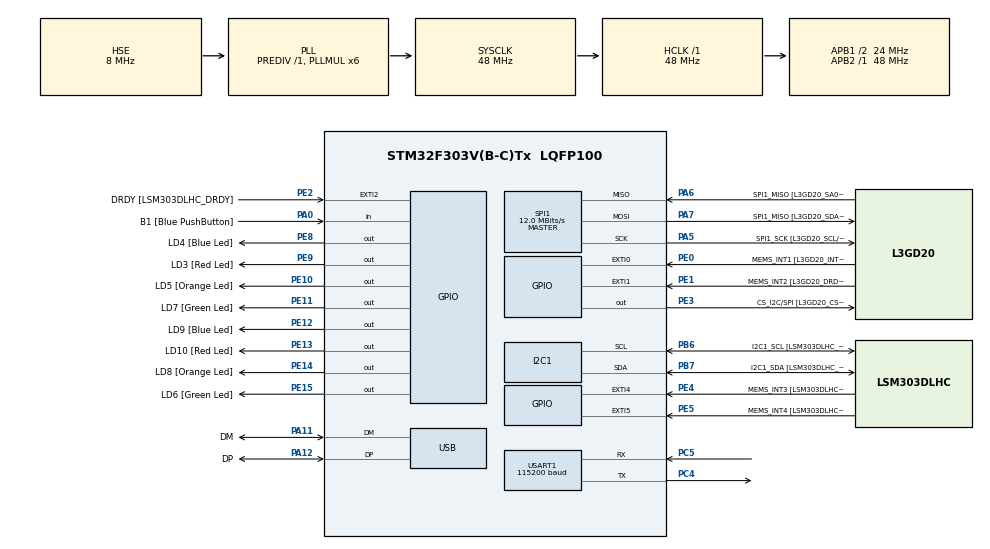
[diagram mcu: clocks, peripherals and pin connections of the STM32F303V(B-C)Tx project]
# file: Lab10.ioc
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I2C1.Timing=0x00201D2B
I2C1.Timing-I2C=0x2000090E
Mcu.Family=STM32F3
Mcu.Name=STM32F303V(B-C)Tx
Mcu.Package=LQFP100
NVIC.PriorityGroup=NVIC_PRIORITYGROUP_0
NVIC.USB_LP_CAN_RX0_IRQn=true\:0\:0\:false\:false\:true\:false\:true\:true
PA0.GPIO_Label=B1 [Blue PushButton]
PA0.Signal=GPIO_Input
PA11.GPIO_Label=DM
PA11.Mode=Device
PA11.Signal=USB_DM
PA12.GPIO_Label=DP
PA12.Mode=Device
PA12.Signal=USB_DP
PA13.GPIO_Label=SWDIO
PA13.Mode=Serial_Wire
PA13.Signal=SYS_JTMS-SWDIO
PA14.GPIO_Label=SWCLK
PA14.Mode=Serial_Wire
PA14.Signal=SYS_JTCK-SWCLK
PA5.GPIO_Label=SPI1_SCK [L3GD20_SCL/SPC]
PA5.Mode=Full_Duplex_Master
PA5.Signal=SPI1_SCK
PA6.GPIO_Label=SPI1_MISO [L3GD20_SA0/SDO]
PA6.Mode=Full_Duplex_Master
PA6.Signal=SPI1_MISO
PA7.GPIO_Label=SPI1_MISO [L3GD20_SDA/SDI/SDO]
PA7.Mode=Full_Duplex_Master
PA7.Signal=SPI1_MOSI
PB3.GPIO_Label=SWO
PB3.Signal=SYS_JTDO-TRACESWO
PB6.GPIO_Label=I2C1_SCL [LSM303DLHC_SCL]
PB6.GPIO_Pu=GPIO_PULLUP
PB6.Mode=I2C
PB6.Signal=I2C1_SCL
PB7.GPIO_Label=I2C1_SDA [LSM303DLHC_SDA]
PB7.GPIO_Pu=GPIO_PULLUP
PB7.Mode=I2C
PB7.Signal=I2C1_SDA
PC14-OSC32_IN.GPIO_Label=OSC32_IN
PC14-OSC32_IN.Signal=RCC_OSC32_IN
PC15-OSC32_OUT.GPIO_Label=OSC32_OUT
PC15-OSC32_OUT.Signal=RCC_OSC32_OUT
PC4.Mode=Asynchronous
PC4.Signal=USART1_TX
PC5.Mode=Asynchronous
PC5.Signal=USART1_RX
PE0.GPIO_Label=MEMS_INT1 [L3GD20_INT1]
PE0.GPIO_ModeDefaultEXTI=GPIO_MODE_EVT_RISING
PE0.Signal=GPXTI0
PE1.GPIO_Label=MEMS_INT2 [L3GD20_DRDY/INT2]
PE1.GPIO_ModeDefaultEXTI=GPIO_MODE_EVT_RISING
PE1.Signal=GPXTI1
PE10.GPIO_Label=LD5 [Orange Led]
PE10.Signal=GPIO_Output
PE11.GPIO_Label=LD7 [Green Led]
PE11.Signal=GPIO_Output
PE12.GPIO_Label=LD9 [Blue Led]
PE12.Signal=GPIO_Output
PE13.GPIO_Label=LD10 [Red Led]
PE13.Signal=GPIO_Output
PE14.GPIO_Label=LD8 [Orange Led]
PE14.Signal=GPIO_Output
PE15.GPIO_Label=LD6 [Green Led]
PE15.Signal=GPIO_Output
PE2.GPIO_Label=DRDY [LSM303DLHC_DRDY]
PE2.GPIO_ModeDefaultEXTI=GPIO_MODE_EVT_RISING
PE2.Signal=GPXTI2
PE3.GPIO_Label=CS_I2C/SPI [L3GD20_CS_I2C/SPI]
PE3.Signal=GPIO_Output
PE4.GPIO_Label=MEMS_INT3 [LSM303DLHC_INT1]
PE4.GPIO_ModeDefaultEXTI=GPIO_MODE_EVT_RISING
PE4.Signal=GPXTI4
PE5.GPIO_Label=MEMS_INT4 [LSM303DLHC_INT2]
PE5.GPIO_ModeDefaultEXTI=GPIO_MODE_EVT_RISING
PE5.Signal=GPXTI5
PE8.GPIO_Label=LD4 [Blue Led]
PE8.Signal=GPIO_Output
PE9.GPIO_Label=LD3 [Red Led]
PE9.Signal=GPIO_Output
PF0-OSC_IN.GPIO_Label=OSC_IN
PF0-OSC_IN.Mode=HSE-External-Clock-Source
PF0-OSC_IN.Signal=RCC_OSC_IN
PF1-OSC_OUT.GPIO_Label=OSC_OUT
PF1-OSC_OUT.Signal=RCC_OSC_OUT
ProjectManager.HeapSize=0x200
ProjectManager.StackSize=0x400
ProjectManager.TargetToolchain=CMake
RCC.AHBFreq_Value=48000000
RCC.APB1CLKDivider=RCC_HCLK_DIV2
RCC.APB1Freq_Value=24000000
RCC.APB1TimFreq_Value=48000000
RCC.APB2Freq_Value=48000000
RCC.APB2TimFreq_Value=48000000
RCC.CortexFreq_Value=48000000
RCC.HCLKFreq_Value=48000000
RCC.HSE_VALUE=8000000
RCC.HSI_VALUE=8000000
RCC.LSE_VALUE=32768
RCC.PLLMUL=RCC_PLL_MUL6
RCC.SYSCLKFreq_VALUE=48000000
RCC.SYSCLKSourceVirtual=RCC_SYSCLKSOURCE_PLLCLK
RCC.USBFreq_Value=48000000
SPI1.BaudRatePrescaler=SPI_BAUDRATEPRESCALER_4
SPI1.BaudRatePrescaler-Full_Duplex_Master=SPI_BAUDRATEPRESCALER_2
SPI1.CalculateBaudRate=12.0 MBits/s
SPI1.CalculateBaudRate-Full_Duplex_Master=24.0 MBits/s
SPI1.Direction=SPI_DIRECTION_2LINES
SPI1.Mode=SPI_MODE_MASTER
SPI1.Mode-Full_Duplex_Master=SPI_MODE_MASTER
SPI1.VirtualType=VM_MASTER
USART1.BaudRate=115200
USART1.VirtualMode-Asynchronous=VM_ASYNC
USB_DEVICE.CLASS_NAME_FS=CDC
USB_DEVICE.VirtualMode=Cdc
USB_DEVICE.VirtualModeFS=Cdc_FS
VP_USB_DEVICE_VS_USB_DEVICE_CDC_FS.Mode=CDC_FS
board=STM32F3DISCOVERY

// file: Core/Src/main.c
/* USER CODE BEGIN Header */
/**
  ******************************************************************************
  * @file           : main.c
  * @brief          : Main program body
  ******************************************************************************
  * @attention
  *
  * Copyright (c) 2026 STMicroelectronics.
  * All rights reserved.
  *
  * This software is licensed under terms that can be found in the LICENSE file
  * in the root directory of this software component.
  * If no LICENSE file comes with this software, it is provided AS-IS.
  *
  ******************************************************************************
  */
/* USER CODE END Header */
#include "main.h"
#include "usb_device.h"
#include <stdlib.h>
#include <string.h>
#include <stdio.h>

I2C_HandleTypeDef hi2c1;

SPI_HandleTypeDef hspi1;

UART_HandleTypeDef huart1;

void SystemClock_Config(void);
static void MX_GPIO_Init(void);
static void MX_I2C1_Init(void);
static void MX_SPI1_Init(void);
static void MX_USART1_UART_Init(void);

int main(void)
{

  /* MCU Configuration--------------------------------------------------------*/

  /* Reset of all peripherals, Initializes the Flash interface and the Systick. */
  HAL_Init();

  /* Configure the system clock */
  SystemClock_Config();

  /* Initialize all configured peripherals */
  MX_GPIO_Init();
  MX_I2C1_Init();
  MX_SPI1_Init();
  MX_USART1_UART_Init();
  MX_USB_DEVICE_Init();

  /* Infinite loop */
  /* USER CODE BEGIN WHILE */

/* USER CODE BEGIN 2 */

  char msg[100];
  int size = 5; // Size of our dynamic arrays

  int *arr_malloc = (int*)malloc(size * sizeof(int));
  int *arr_calloc = (int*)calloc(size, sizeof(int));

  if (arr_malloc == NULL || arr_calloc == NULL) {
      int len = sprintf(msg, "Error: Memory Allocation Failed!\r\n");
      HAL_UART_Transmit(&huart1, (uint8_t*)msg, len, HAL_MAX_DELAY);
  }
  else {
      int len = sprintf(msg, "Memory Allocation Successful!\r\n");
      HAL_UART_Transmit(&huart1, (uint8_t*)msg, len, HAL_MAX_DELAY);

      len = sprintf(msg, "Initial calloc values: ");
      HAL_UART_Transmit(&huart1, (uint8_t*)msg, len, HAL_MAX_DELAY);

      for (int i = 0; i < size; i++) {
          len = sprintf(msg, "%d ", arr_calloc[i]);
          HAL_UART_Transmit(&huart1, (uint8_t*)msg, len, HAL_MAX_DELAY);
      }
      HAL_UART_Transmit(&huart1, (uint8_t*)"\r\n", 2, HAL_MAX_DELAY); // New line

      for (int i = 0; i < size; i++) {
          arr_malloc[i] = i * 2;
          arr_calloc[i] = i + 1;
      }

      len = sprintf(msg, "malloc array contents: ");
      HAL_UART_Transmit(&huart1, (uint8_t*)msg, len, HAL_MAX_DELAY);
      for (int i = 0; i < size; i++) {
          len = sprintf(msg, "%d ", arr_malloc[i]);
          HAL_UART_Transmit(&huart1, (uint8_t*)msg, len, HAL_MAX_DELAY);
      }
      HAL_UART_Transmit(&huart1, (uint8_t*)"\r\n", 2, HAL_MAX_DELAY);

      len = sprintf(msg, "calloc array contents: ");
      HAL_UART_Transmit(&huart1, (uint8_t*)msg, len, HAL_MAX_DELAY);
      for (int i = 0; i < size; i++) {
          len = sprintf(msg, "%d ", arr_calloc[i]);
          HAL_UART_Transmit(&huart1, (uint8_t*)msg, len, HAL_MAX_DELAY);
      }
      HAL_UART_Transmit(&huart1, (uint8_t*)"\r\n\r\n", 4, HAL_MAX_DELAY);

      free(arr_malloc);
      free(arr_calloc);

      arr_malloc = NULL;
      arr_calloc = NULL;

  }

  /* USER CODE END 2 */

  while (1)
  {
    /* USER CODE END WHILE */

  }

}

void SystemClock_Config(void)
{
  RCC_OscInitTypeDef RCC_OscInitStruct = {0};
  RCC_ClkInitTypeDef RCC_ClkInitStruct = {0};
  RCC_PeriphCLKInitTypeDef PeriphClkInit = {0};

  /** Initializes the RCC Oscillators according to the specified parameters
  * in the RCC_OscInitTypeDef structure.
  */
  RCC_OscInitStruct.OscillatorType = RCC_OSCILLATORTYPE_HSI|RCC_OSCILLATORTYPE_HSE;
  RCC_OscInitStruct.HSEState = RCC_HSE_BYPASS;
  RCC_OscInitStruct.HSEPredivValue = RCC_HSE_PREDIV_DIV1;
  RCC_OscInitStruct.HSIState = RCC_HSI_ON;
  RCC_OscInitStruct.HSICalibrationValue = RCC_HSICALIBRATION_DEFAULT;
  RCC_OscInitStruct.PLL.PLLState = RCC_PLL_ON;
  RCC_OscInitStruct.PLL.PLLSource = RCC_PLLSOURCE_HSE;
  RCC_OscInitStruct.PLL.PLLMUL = RCC_PLL_MUL6;
  if (HAL_RCC_OscConfig(&RCC_OscInitStruct) != HAL_OK)
  {
    Error_Handler();
  }

  /** Initializes the CPU, AHB and APB buses clocks
  */
  RCC_ClkInitStruct.ClockType = RCC_CLOCKTYPE_HCLK|RCC_CLOCKTYPE_SYSCLK
                              |RCC_CLOCKTYPE_PCLK1|RCC_CLOCKTYPE_PCLK2;
  RCC_ClkInitStruct.SYSCLKSource = RCC_SYSCLKSOURCE_PLLCLK;
  RCC_ClkInitStruct.AHBCLKDivider = RCC_SYSCLK_DIV1;
  RCC_ClkInitStruct.APB1CLKDivider = RCC_HCLK_DIV2;
  RCC_ClkInitStruct.APB2CLKDivider = RCC_HCLK_DIV1;

  if (HAL_RCC_ClockConfig(&RCC_ClkInitStruct, FLASH_LATENCY_1) != HAL_OK)
  {
    Error_Handler();
  }
  PeriphClkInit.PeriphClockSelection = RCC_PERIPHCLK_USB|RCC_PERIPHCLK_USART1
                              |RCC_PERIPHCLK_I2C1;
  PeriphClkInit.Usart1ClockSelection = RCC_USART1CLKSOURCE_PCLK2;
  PeriphClkInit.I2c1ClockSelection = RCC_I2C1CLKSOURCE_HSI;
  PeriphClkInit.USBClockSelection = RCC_USBCLKSOURCE_PLL;
  if (HAL_RCCEx_PeriphCLKConfig(&PeriphClkInit) != HAL_OK)
  {
    Error_Handler();
  }
}

static void MX_I2C1_Init(void)
{

  hi2c1.Instance = I2C1;
  hi2c1.Init.Timing = 0x00201D2B;
  hi2c1.Init.OwnAddress1 = 0;
  hi2c1.Init.AddressingMode = I2C_ADDRESSINGMODE_7BIT;
  hi2c1.Init.DualAddressMode = I2C_DUALADDRESS_DISABLE;
  hi2c1.Init.OwnAddress2 = 0;
  hi2c1.Init.OwnAddress2Masks = I2C_OA2_NOMASK;
  hi2c1.Init.GeneralCallMode = I2C_GENERALCALL_DISABLE;
  hi2c1.Init.NoStretchMode = I2C_NOSTRETCH_DISABLE;
  if (HAL_I2C_Init(&hi2c1) != HAL_OK)
  {
    Error_Handler();
  }

  /** Configure Analogue filter
  */
  if (HAL_I2CEx_ConfigAnalogFilter(&hi2c1, I2C_ANALOGFILTER_ENABLE) != HAL_OK)
  {
    Error_Handler();
  }

  /** Configure Digital filter
  */
  if (HAL_I2CEx_ConfigDigitalFilter(&hi2c1, 0) != HAL_OK)
  {
    Error_Handler();
  }

}

static void MX_SPI1_Init(void)
{

  /* SPI1 parameter configuration*/
  hspi1.Instance = SPI1;
  hspi1.Init.Mode = SPI_MODE_MASTER;
  hspi1.Init.Direction = SPI_DIRECTION_2LINES;
  hspi1.Init.DataSize = SPI_DATASIZE_4BIT;
  hspi1.Init.CLKPolarity = SPI_POLARITY_LOW;
  hspi1.Init.CLKPhase = SPI_PHASE_1EDGE;
  hspi1.Init.NSS = SPI_NSS_SOFT;
  hspi1.Init.BaudRatePrescaler = SPI_BAUDRATEPRESCALER_4;
  hspi1.Init.FirstBit = SPI_FIRSTBIT_MSB;
  hspi1.Init.TIMode = SPI_TIMODE_DISABLE;
  hspi1.Init.CRCCalculation = SPI_CRCCALCULATION_DISABLE;
  hspi1.Init.CRCPolynomial = 7;
  hspi1.Init.CRCLength = SPI_CRC_LENGTH_DATASIZE;
  hspi1.Init.NSSPMode = SPI_NSS_PULSE_ENABLE;
  if (HAL_SPI_Init(&hspi1) != HAL_OK)
  {
    Error_Handler();
  }

}

static void MX_USART1_UART_Init(void)
{

  huart1.Instance = USART1;
  huart1.Init.BaudRate = 115200;
  huart1.Init.WordLength = UART_WORDLENGTH_8B;
  huart1.Init.StopBits = UART_STOPBITS_1;
  huart1.Init.Parity = UART_PARITY_NONE;
  huart1.Init.Mode = UART_MODE_TX_RX;
  huart1.Init.HwFlowCtl = UART_HWCONTROL_NONE;
  huart1.Init.OverSampling = UART_OVERSAMPLING_16;
  huart1.Init.OneBitSampling = UART_ONE_BIT_SAMPLE_DISABLE;
  huart1.AdvancedInit.AdvFeatureInit = UART_ADVFEATURE_NO_INIT;
  if (HAL_UART_Init(&huart1) != HAL_OK)
  {
    Error_Handler();
  }

}

static void MX_GPIO_Init(void)
{
  GPIO_InitTypeDef GPIO_InitStruct = {0};

  /* GPIO Ports Clock Enable */
  __HAL_RCC_GPIOE_CLK_ENABLE();
  __HAL_RCC_GPIOC_CLK_ENABLE();
  __HAL_RCC_GPIOF_CLK_ENABLE();
  __HAL_RCC_GPIOA_CLK_ENABLE();
  __HAL_RCC_GPIOB_CLK_ENABLE();

  /*Configure GPIO pin Output Level */
  HAL_GPIO_WritePin(GPIOE, CS_I2C_SPI_Pin|LD4_Pin|LD3_Pin|LD5_Pin
                          |LD7_Pin|LD9_Pin|LD10_Pin|LD8_Pin
                          |LD6_Pin, GPIO_PIN_RESET);

  /*Configure GPIO pins : DRDY_Pin MEMS_INT3_Pin MEMS_INT4_Pin MEMS_INT1_Pin
                           MEMS_INT2_Pin */
  GPIO_InitStruct.Pin = DRDY_Pin|MEMS_INT3_Pin|MEMS_INT4_Pin|MEMS_INT1_Pin
                          |MEMS_INT2_Pin;
  GPIO_InitStruct.Mode = GPIO_MODE_EVT_RISING;
  GPIO_InitStruct.Pull = GPIO_NOPULL;
  HAL_GPIO_Init(GPIOE, &GPIO_InitStruct);

  /*Configure GPIO pins : CS_I2C_SPI_Pin LD4_Pin LD3_Pin LD5_Pin
                           LD7_Pin LD9_Pin LD10_Pin LD8_Pin
                           LD6_Pin */
  GPIO_InitStruct.Pin = CS_I2C_SPI_Pin|LD4_Pin|LD3_Pin|LD5_Pin
                          |LD7_Pin|LD9_Pin|LD10_Pin|LD8_Pin
                          |LD6_Pin;
  GPIO_InitStruct.Mode = GPIO_MODE_OUTPUT_PP;
  GPIO_InitStruct.Pull = GPIO_NOPULL;
  GPIO_InitStruct.Speed = GPIO_SPEED_FREQ_LOW;
  HAL_GPIO_Init(GPIOE, &GPIO_InitStruct);

  /*Configure GPIO pin : B1_Pin */
  GPIO_InitStruct.Pin = B1_Pin;
  GPIO_InitStruct.Mode = GPIO_MODE_INPUT;
  GPIO_InitStruct.Pull = GPIO_NOPULL;
  HAL_GPIO_Init(B1_GPIO_Port, &GPIO_InitStruct);

}

void Error_Handler(void)
{
  __disable_irq();
  while (1)
  {
  }
}
